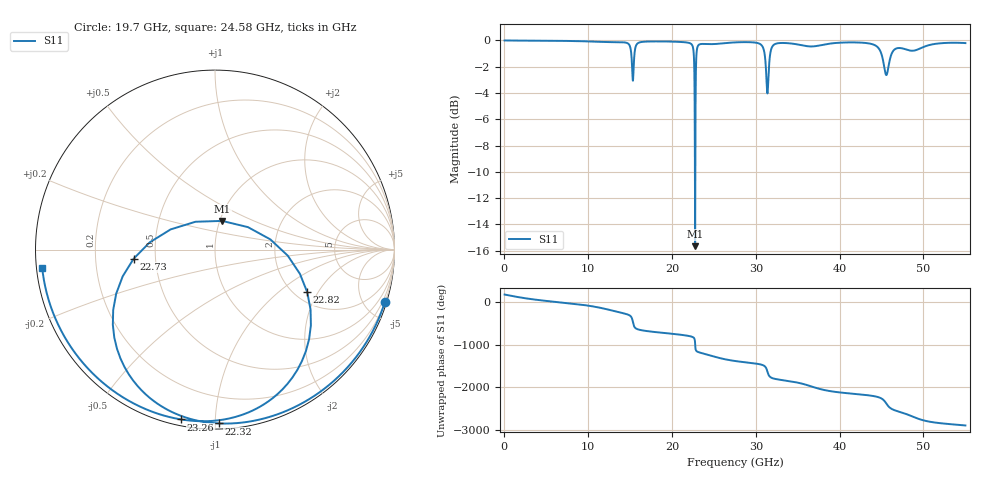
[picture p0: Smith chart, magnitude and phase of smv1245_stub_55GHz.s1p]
! SMV1245 corrected-stub 1-port S-parameters (0.05-55 GHz, 5496 pts (~0.01 GHz step)).
! Provenance: R6/R9 element-accurate SMV1245 corrected stub, 1-port S-param, plane n_s0 = varactor bottom terminal. ROGERS_4003C msub H=1.54mm Er=3.38 T=0.0175mm TanD=0.0027. Chain: MLIN(1.93x6.83) - VIAGND(D1.6,W1.93) - MLIN(1.41x5.25) - VIAGND(D1.6,W1.41) - MLIN(1.98x1.04) - MLEF(1.98). ADS S_Para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
# Hz S RI R 50
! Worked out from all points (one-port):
!   5496 points, 50 MHz to 55 GHz, reference 50 ohm
!   lowest |S11| = -15.7 dB at 22.77 GHz (marker M1), VSWR 1.39, Z = 51.4 + j16.9 ohm
!   |S11| at or under -10 dB: 22.74492 GHz to 22.79034 GHz (45.41 MHz wide, 0.199 % of centre)
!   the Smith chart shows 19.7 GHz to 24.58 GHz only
!   S11 on the Smith chart (normalised r, x): 19.7 GHz: 0.22, -6.59; 22.32 GHz: 0.03, -1.02; 22.73 GHz: 0.37, -0.05; 22.82 GHz: 2.32, -1.62; 23.26 GHz: 0.03, -0.82; 24.58 GHz: 0.02, -0.05
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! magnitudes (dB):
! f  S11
! 50 MHz  0.0
! 6.92 GHz  0.0
! 13.79 GHz  -0.1
! 14.82 GHz  -0.3
! 15.35 GHz  -3.1
! 16.05 GHz  -0.2
! 19.7 GHz  -0.1
! 20.66 GHz  -0.1
! 22.32 GHz  -0.3
! 22.45 GHz  -0.4
! 22.56 GHz  -0.7
! 22.73 GHz  -6.8
! 22.77 GHz  -15.7
! 22.82 GHz  -4.9
! 22.98 GHz  -0.7
! 23.26 GHz  -0.3
! 24.58 GHz  -0.3
! 27.53 GHz  -0.1
! 30.61 GHz  -0.3
! 31.39 GHz  -4.0
! 32.1 GHz  -0.4
! 34.4 GHz  -0.2
! 41.27 GHz  -0.1
! 44.41 GHz  -0.4
! 45.57 GHz  -2.6
! 46.52 GHz  -0.7
! 48.14 GHz  -0.7
! 55 GHz  -0.2
